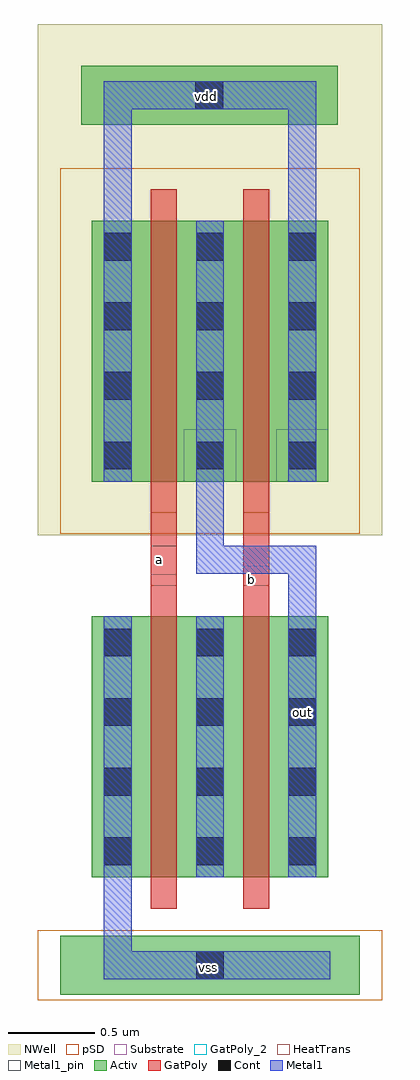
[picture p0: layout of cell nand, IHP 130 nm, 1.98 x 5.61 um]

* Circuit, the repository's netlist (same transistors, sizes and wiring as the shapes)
* Extracted by KLayout with SG13G2 LVS runset on : 12/03/2026 04:05

.SUBCKT nandgate
M$1 \$1 \$5 \$2 \$1 sg13_lv_nmos L=0.15u W=1.5u AS=0.51p AD=0.285p PS=3.68u
+ PD=1.88u
M$2 \$2 \$6 \$3 \$1 sg13_lv_nmos L=0.15u W=1.5u AS=0.285p AD=0.51p PS=1.88u
+ PD=3.68u
M$3 \$4 \$5 \$3 \$4 sg13_lv_pmos L=0.15u W=1.5u AS=0.51p AD=0.285p PS=3.68u
+ PD=1.88u
M$4 \$3 \$6 \$4 \$4 sg13_lv_pmos L=0.15u W=1.5u AS=0.285p AD=0.51p PS=1.88u
+ PD=3.68u
.ENDS nandgate

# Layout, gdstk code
import gdstk
lib = gdstk.Library(unit=1e-6, precision=5e-09)
def R(c, l, rs):  # rectangles x0, y0, x1, y1
    for r in rs: c.add(gdstk.rectangle(r[:2], r[2:], *l))
def A(c, l, x, y, w, h, nx, ny, dx, dy):  # array of equal rectangles
    R(c, l, [(x+i*dx, y+j*dy, x+i*dx+w, y+j*dy+h) for i in range(nx) for j in range(ny)])
Activ = (1, 0)
GatPoly = (5, 0)
GatPoly_2 = (5, 2)
Cont = (6, 0)
Metal1 = (8, 0)
Metal1_pin = (8, 2)
pSD = (14, 0)
NWell = (31, 0)
Substrate = (40, 0)
HeatTrans = (51, 0)

nmos_1 = lib.new_cell('nmos$1')
R(nmos_1, Activ, [(0,0,0.3,0.3), (0,0,0.83,1.5), (0.53,0,0.83,0.3)])
R(nmos_1, GatPoly, [(0.34,-0.18,0.49,1.68)])
R(nmos_1, GatPoly_2, [(0.34,-0.18,0.49,1.68)])
A(nmos_1, Cont, 0.07, 0.07, 0.16, 0.16, 1, 4, 0, 0.4)
A(nmos_1, Cont, 0.6, 0.07, 0.16, 0.16, 1, 4, 0, 0.4)
R(nmos_1, Metal1, [(0.07,0,0.23,1.5), (0.6,0,0.76,1.5)])
R(nmos_1, Metal1_pin, [(0.07,0,0.23,1.5), (0.6,0,0.76,1.5)])
R(nmos_1, HeatTrans, [(0.34,-0.18,0.49,1.68)])
nmos_1.add(gdstk.Label('nmos', (0.415,0.75), layer=63, texttype=0))
nmos_1.add(gdstk.Label('nmos', (0.415,0.75), layer=51, texttype=0))

pmos = lib.new_cell('pmos')
R(pmos, Activ, [(0,0,0.3,0.3), (0,0,0.83,1.5), (0.53,0,0.83,0.3)])
R(pmos, GatPoly, [(0.34,-0.18,0.49,1.68), (0.34,-0.18,0.49,1.68)])
A(pmos, Cont, 0.07, 0.07, 0.16, 0.16, 1, 4, 0, 0.4)
A(pmos, Cont, 0.6, 0.07, 0.16, 0.16, 1, 4, 0, 0.4)
R(pmos, Metal1, [(0.07,0,0.23,1.5), (0.07,0,0.23,1.5), (0.6,0,0.76,1.5), (0.6,0,0.76,1.5)])
R(pmos, pSD, [(-0.18,-0.3,1.01,1.8)])
R(pmos, NWell, [(-0.31,-0.31,1.14,1.81)])
R(pmos, Substrate, [(0.53,0,0.83,0.3)])
R(pmos, HeatTrans, [(0.34,-0.18,0.49,1.68)])
pmos.add(gdstk.Label('pmos', (0.415,0.75), layer=63, texttype=0))
pmos.add(gdstk.Label('pmos', (0.415,0.75), layer=51, texttype=0))

nand = lib.new_cell('nand')
R(nand, Activ, [(-2.805,-1.84,-1.085,-1.5), (-2.685,3.16,-1.21,3.5)])
R(nand, GatPoly, [(-2.285,-0.62,-2.135,1.58), (-1.755,-0.62,-1.605,1.585)])
R(nand, GatPoly_2, [(-1.755,0.46,-1.605,0.625), (-2.285,0.575,-2.135,0.74)])
R(nand, Cont, [(-2.025,-1.75,-1.865,-1.59), (-2.025,-1.75,-1.865,-1.59), (-2.03,3.25,-1.87,3.41)])
R(nand, Metal1, [(-1.495,-0.13,-1.335,0.74), (-2.555,1.98,-2.395,3.41), (-1.495,1.98,-1.335,3.41), (-2.555,3.25,-1.335,3.41)])
R(nand, Metal1_pin, [(-1.495,-0.295,-1.335,-0.135), (-2.03,3.25,-1.87,3.41)])
R(nand, pSD, [(-2.935,-1.87,-0.955,-1.47)])
R(nand, NWell, [(-2.935,2.92,-0.955,3.74)])
nand.add(gdstk.FlexPath([(-2.475,-1.015),(-2.475,-1.67),(-1.335,-1.67),(-1.255,-1.67)], 0.16, ends="flush", simple_path=True, layer=8, datatype=0))  # Metal1
nand.add(gdstk.FlexPath([(-1.945,1.74),(-1.945,0.66),(-1.335,0.66)], 0.16, ends="flush", simple_path=True, layer=8, datatype=0))  # Metal1
nand.add(gdstk.Reference(nmos_1, (-2.625,-1.165)))
nand.add(gdstk.Reference(nmos_1, (-2.095,-1.165)))
nand.add(gdstk.Reference(pmos, (-2.625,1.11)))
nand.add(gdstk.Reference(pmos, (-2.095,1.11)))
nand.add(gdstk.Label('vss', (-1.955,-1.685), layer=8, texttype=2))
nand.add(gdstk.Label('vdd', (-1.965,3.325), layer=8, texttype=2))
nand.add(gdstk.Label('out', (-1.415,-0.22), layer=8, texttype=2))
nand.add(gdstk.Label('b', (-1.705,0.545), layer=5, texttype=2))
nand.add(gdstk.Label('a', (-2.235,0.66), layer=5, texttype=2))

lib.write_gds('nand.gds')
